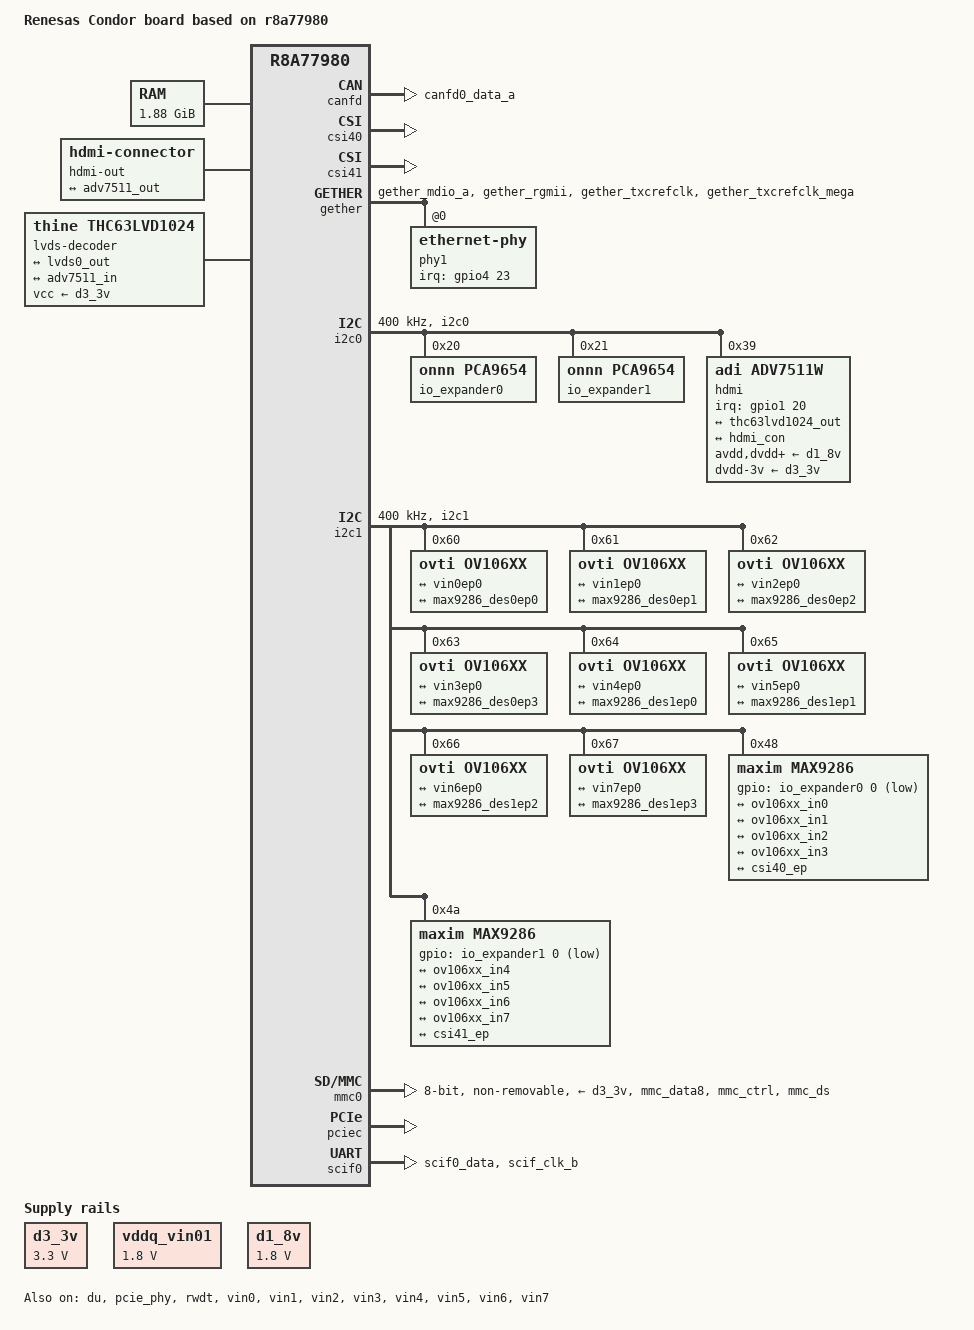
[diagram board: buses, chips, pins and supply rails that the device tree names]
// SPDX-License-Identifier: GPL-2.0
/*
 * Device Tree Source for the Condor board
 *
 * Copyright (C) 2018 Renesas Electronics Corp.
 * Copyright (C) 2018 Cogent Embedded, Inc.
 */

/dts-v1/;
#include "r8a77980.dtsi"
#include <dt-bindings/gpio/gpio.h>

/ {
	model = "Renesas Condor board based on r8a77980";
	compatible = "renesas,condor", "renesas,r8a77980";

	aliases {
		serial0 = &scif0;
		ethernet0 = &avb;
		ethernet1 = &gether;
	};

	chosen {
		stdout-path = "serial0:115200n8";
	};

	memory@48000000 {
		device_type = "memory";
		/* first 128MB is reserved for secure area. */
		reg = <0 0x48000000 0 0x78000000>;
	};

	reserved-memory {
		#address-cells = <2>;
		#size-cells = <2>;
		ranges;

		/* device specific region for Lossy Decompression */
		lossy_decompress: linux,lossy_decompress {
			no-map;
			reg = <0x00000000 0x6c000000 0x0 0x03000000>;
		};

		/* global autoconfigured region for contiguous allocations */
		linux,cma {
			compatible = "shared-dma-pool";
			reusable;
			reg = <0x00000000 0x6f000000 0x0 0x10000000>;
			linux,cma-default;
		};

		/* device specific region for contiguous allocations */
		linux,multimedia {
			compatible = "shared-dma-pool";
			reusable;
			reg = <0x00000000 0x7f000000 0x0 0x01000000>;
		};
	};

	mmngr {
		compatible = "renesas,mmngr";
		memory-region = <&lossy_decompress>;
	};

	mmngrbuf {
		compatible = "renesas,mmngrbuf";
	};

	d3_3v: regulator-0 {
		compatible = "regulator-fixed";
		regulator-name = "D3.3V";
		regulator-min-microvolt = <3300000>;
		regulator-max-microvolt = <3300000>;
		regulator-boot-on;
		regulator-always-on;
	};

	vddq_vin01: regulator-1 {
		compatible = "regulator-fixed";
		regulator-name = "VDDQ_VIN01";
		regulator-min-microvolt = <1800000>;
		regulator-max-microvolt = <1800000>;
		regulator-boot-on;
		regulator-always-on;
	};

	d1_8v: regulator-2 {
		compatible = "regulator-fixed";
		regulator-name = "D1.8V";
		regulator-min-microvolt = <1800000>;
		regulator-max-microvolt = <1800000>;
		regulator-boot-on;
		regulator-always-on;
	};

	hdmi-out {
		compatible = "hdmi-connector";
		type = "a";

		port {
			hdmi_con: endpoint {
				remote-endpoint = <&adv7511_out>;
			};
		};
	};

	lvds-decoder {
		compatible = "thine,thc63lvd1024";
		vcc-supply = <&d3_3v>;

		ports {
			#address-cells = <1>;
			#size-cells = <0>;

			port@0 {
				reg = <0>;
				thc63lvd1024_in: endpoint {
					remote-endpoint = <&lvds0_out>;
				};
			};

			port@2 {
				reg = <2>;
				thc63lvd1024_out: endpoint {
					remote-endpoint = <&adv7511_in>;
				};
			};
		};
	};

	x1_clk: x1-clock {
		compatible = "fixed-clock";
		#clock-cells = <0>;
		clock-frequency = <148500000>;
	};
};

&avb {
	pinctrl-0 = <&avb_pins>;
	pinctrl-names = "default";

	phy-mode = "rgmii-id";
	phy-handle = <&phy0>;
	renesas,no-ether-link;
	status = "disabled";

	phy0: ethernet-phy@0 {
		rxc-skew-ps = <1500>;
		reg = <0>;
		interrupt-parent = <&gpio1>;
		interrupts = <17 IRQ_TYPE_LEVEL_LOW>;
	};
};

&canfd {
	pinctrl-0 = <&canfd0_pins>;
	pinctrl-names = "default";
	status = "okay";

	channel0 {
		status = "okay";
	};
};

&csi40 {
	status = "okay";

	virtual,channel {
		csi2_vc0 {
			data,type = "ycbcr422";
			receive,vc = <0>;
		};
		csi2_vc1 {
			data,type = "ycbcr422";
			receive,vc = <1>;
		};
		csi2_vc2 {
			data,type = "ycbcr422";
			receive,vc = <2>;
		};
		csi2_vc3 {
			data,type = "ycbcr422";
			receive,vc = <3>;
		};
	};

	port {
		#address-cells = <1>;
		#size-cells = <0>;

		csi40_ep: endpoint {
			clock-lanes = <0>;
			data-lanes = <1 2 3 4>;
			csi-rate = <300>;
		};
	};
};

&csi41 {
	status = "okay";

	virtual,channel {
		csi2_vc0 {
			data,type = "ycbcr422";
			receive,vc = <0>;
		};
		csi2_vc1 {
			data,type = "ycbcr422";
			receive,vc = <1>;
		};
		csi2_vc2 {
			data,type = "ycbcr422";
			receive,vc = <2>;
		};
		csi2_vc3 {
			data,type = "ycbcr422";
			receive,vc = <3>;
		};
	};

	port {
		#address-cells = <1>;
		#size-cells = <0>;

		csi41_ep: endpoint {
			clock-lanes = <0>;
			data-lanes = <1 2 3 4>;
			csi-rate = <300>;
		};
	};
};
&du {
	clocks = <&cpg CPG_MOD 724>,
		 <&cpg CPG_MOD 727>,
		 <&x1_clk>;
	clock-names = "du.0", "lvds.0", "dclkin.0";
	status = "okay";

	ports {
		port@1 {
			lvds0_out: endpoint {
				remote-endpoint = <&thc63lvd1024_in>;
			};
		};
	};
};

&extal_clk {
	clock-frequency = <16666666>;
};

&extalr_clk {
	clock-frequency = <32768>;
};

&gether {
	pinctrl-0 = <&gether_pins>;
	pinctrl-names = "default";

	phy-mode = "rgmii-id";
	phy-handle = <&phy1>;
	renesas,no-ether-link;
	status = "okay";

	phy1: ethernet-phy@1 {
		rxc-skew-ps = <1500>;
		reg = <0>;
		interrupt-parent = <&gpio4>;
		interrupts = <23 IRQ_TYPE_LEVEL_LOW>;
	};
};

&i2c0 {
	pinctrl-0 = <&i2c0_pins>;
	pinctrl-names = "default";

	status = "okay";
	clock-frequency = <400000>;

	io_expander0: gpio@20 {
		compatible = "onnn,pca9654";
		reg = <0x20>;
		gpio-controller;
		#gpio-cells = <2>;
	};

	io_expander1: gpio@21 {
		compatible = "onnn,pca9654";
		reg = <0x21>;
		gpio-controller;
		#gpio-cells = <2>;
	};

	hdmi@39 {
		compatible = "adi,adv7511w";
		reg = <0x39>;
		interrupt-parent = <&gpio1>;
		interrupts = <20 IRQ_TYPE_LEVEL_LOW>;
		avdd-supply = <&d1_8v>;
		dvdd-supply = <&d1_8v>;
		pvdd-supply = <&d1_8v>;
		bgvdd-supply = <&d1_8v>;
		dvdd-3v-supply = <&d3_3v>;

		adi,input-depth = <8>;
		adi,input-colorspace = "rgb";
		adi,input-clock = "1x";
		adi,input-style = <1>;
		adi,input-justification = "evenly";

		ports {
			#address-cells = <1>;
			#size-cells = <0>;

			port@0 {
				reg = <0>;
				adv7511_in: endpoint {
					remote-endpoint = <&thc63lvd1024_out>;
				};
			};

			port@1 {
				reg = <1>;
				adv7511_out: endpoint {
					remote-endpoint = <&hdmi_con>;
				};
			};
		};
	};
};

&i2c1 {
	pinctrl-0 = <&i2c1_pins>;
	pinctrl-names = "default";

	status = "okay";
	clock-frequency = <400000>;

	ov106xx@0 {
		compatible = "ovti,ov106xx";
		reg = <0x60>;

		port@0 {
			ov106xx_in0: endpoint {
				clock-lanes = <0>;
				data-lanes = <1 2 3 4>;
				remote-endpoint = <&vin0ep0>;
			};
		};
		port@1 {
			ov106xx_max9286_des0ep0: endpoint@0 {
				remote-endpoint = <&max9286_des0ep0>;
			};
		};
	};

	ov106xx@1 {
		compatible = "ovti,ov106xx";
		reg = <0x61>;

		port@0 {
			ov106xx_in1: endpoint {
				clock-lanes = <0>;
				data-lanes = <1 2 3 4>;
				remote-endpoint = <&vin1ep0>;
			};
		};
		port@1 {
			ov106xx_max9286_des0ep1: endpoint@0 {
				remote-endpoint = <&max9286_des0ep1>;
			};
		};
	};

	ov106xx@2 {
		compatible = "ovti,ov106xx";
		reg = <0x62>;

		port@0 {
			ov106xx_in2: endpoint {
				clock-lanes = <0>;
				data-lanes = <1 2 3 4>;
				remote-endpoint = <&vin2ep0>;
			};
		};
		port@1 {
			ov106xx_max9286_des0ep2: endpoint@0 {
				remote-endpoint = <&max9286_des0ep2>;
			};
		};
	};

	ov106xx@3 {
		compatible = "ovti,ov106xx";
		reg = <0x63>;

		port@0 {
			ov106xx_in3: endpoint {
				clock-lanes = <0>;
				data-lanes = <1 2 3 4>;
				remote-endpoint = <&vin3ep0>;
			};
		};
		port@1 {
			ov106xx_des0ep3: endpoint {
				remote-endpoint = <&max9286_des0ep3>;
			};
		};
	};

	ov106xx@4 {
		compatible = "ovti,ov106xx";
		reg = <0x64>;

		port@0 {
			ov106xx_in4: endpoint {
				clock-lanes = <0>;
				data-lanes = <1 2 3 4>;
				remote-endpoint = <&vin4ep0>;
			};
		};
		port@1 {
			ov106xx_max9286_des1ep0: endpoint@0 {
				remote-endpoint = <&max9286_des1ep0>;
			};
		};
	};

	ov106xx@5 {
		compatible = "ovti,ov106xx";
		reg = <0x65>;

		port@0 {
			ov106xx_in5: endpoint {
				clock-lanes = <0>;
				data-lanes = <1 2 3 4>;
				remote-endpoint = <&vin5ep0>;
			};
		};
		port@1 {
			ov106xx_max9286_des1ep1: endpoint@0 {
				remote-endpoint = <&max9286_des1ep1>;
			};
		};
	};

	ov106xx@6 {
		compatible = "ovti,ov106xx";
		reg = <0x66>;

		port@0 {
			ov106xx_in6: endpoint {
				clock-lanes = <0>;
				data-lanes = <1 2 3 4>;
				remote-endpoint = <&vin6ep0>;
			};
		};
		port@1 {
			ov106xx_max9286_des1ep2: endpoint@0 {
				remote-endpoint = <&max9286_des1ep2>;
			};
		};
	};

	ov106xx@7 {
		compatible = "ovti,ov106xx";
		reg = <0x67>;

		port@0 {
			ov106xx_in7: endpoint {
				clock-lanes = <0>;
				data-lanes = <1 2 3 4>;
				remote-endpoint = <&vin7ep0>;
			};
		};
		port@1 {
			ov106xx_des1ep3: endpoint {
				remote-endpoint = <&max9286_des1ep3>;
			};
		};
	};

	max9286@0 {
		compatible = "maxim,max9286";
		reg = <0x48>;
		gpios = <&io_expander0 0 GPIO_ACTIVE_LOW>; /* MAX9286 PWDN */
		maxim,gpio0 = <0>;
		maxim,sensor_delay = <100>;
		maxim,links = <4>;
		maxim,lanes = <4>;
		maxim,resetb-gpio = <1>;
		maxim,fsync-mode = "automatic";
		maxim,timeout = <100>;

		port@0 {
			max9286_des0ep0: endpoint@0 {
				max9271-addr = <0x50>;
				dvp-order = <1>;
				remote-endpoint = <&ov106xx_in0>;
			};
			max9286_des0ep1: endpoint@1 {
				max9271-addr = <0x51>;
				dvp-order = <1>;
				remote-endpoint = <&ov106xx_in1>;
			};
			max9286_des0ep2: endpoint@2 {
				max9271-addr = <0x52>;
				dvp-order = <1>;
				remote-endpoint = <&ov106xx_in2>;
			};
			max9286_des0ep3: endpoint@3 {
				max9271-addr = <0x53>;
				dvp-order = <1>;
				remote-endpoint = <&ov106xx_in3>;
			};
		};
		port@1 {
			max9286_csi0ep0: endpoint {
				csi-rate = <700>;
				remote-endpoint = <&csi40_ep>;
			};
		};
	};

	max9286@1 {
		compatible = "maxim,max9286";
		reg = <0x4a>;
		gpios = <&io_expander1 0 GPIO_ACTIVE_LOW>; /* MAX9286 PWDN */
		maxim,gpio0 = <0>;
		maxim,sensor_delay = <100>;
		maxim,links = <4>;
		maxim,lanes = <4>;
		maxim,resetb-gpio = <1>;
		maxim,fsync-mode = "automatic";
		maxim,timeout = <100>;

		port@0 {
			max9286_des1ep0: endpoint@0 {
				max9271-addr = <0x54>;
				dvp-order = <1>;
				remote-endpoint = <&ov106xx_in4>;
			};
			max9286_des1ep1: endpoint@1 {
				max9271-addr = <0x55>;
				dvp-order = <1>;
				remote-endpoint = <&ov106xx_in5>;
			};
			max9286_des1ep2: endpoint@2 {
				max9271-addr = <0x56>;
				dvp-order = <1>;
				remote-endpoint = <&ov106xx_in6>;
			};
			max9286_des1ep3: endpoint@3 {
				max9271-addr = <0x57>;
				dvp-order = <1>;
				remote-endpoint = <&ov106xx_in7>;
			};
		};
		port@1 {
			max9286_csi1ep0: endpoint {
				csi-rate = <700>;
				remote-endpoint = <&csi41_ep>;
			};
		};
	};
};

&mmc0 {
	pinctrl-0 = <&mmc_pins>;
	pinctrl-1 = <&mmc_pins_uhs>;
	pinctrl-names = "default", "state_uhs";

	vmmc-supply = <&d3_3v>;
	vqmmc-supply = <&vddq_vin01>;
	mmc-hs200-1_8v;
	bus-width = <8>;
	non-removable;
	status = "okay";
};

&pciec {
	status = "okay";
};

&pcie_bus_clk {
	clock-frequency = <100000000>;
};

&pcie_phy {
	status = "okay";
};

&pfc {
	avb_pins: avb {
		groups = "avb_mdio", "avb_rgmii";
		function = "avb";
	};

	canfd0_pins: canfd0 {
		groups = "canfd0_data_a";
		function = "canfd0";
	};

	gether_pins: gether {
		groups = "gether_mdio_a", "gether_rgmii",
			 "gether_txcrefclk", "gether_txcrefclk_mega";
		function = "gether";
	};

	i2c0_pins: i2c0 {
		groups = "i2c0";
		function = "i2c0";
	};

	i2c1_pins: i2c1 {
		groups = "i2c1";
		function = "i2c1";
	};

	mmc_pins: mmc {
		groups = "mmc_data8", "mmc_ctrl", "mmc_ds";
		function = "mmc";
		power-source = <3300>;
	};

	mmc_pins_uhs: mmc_uhs {
		groups = "mmc_data8", "mmc_ctrl", "mmc_ds";
		function = "mmc";
		power-source = <1800>;
	};

	scif0_pins: scif0 {
		groups = "scif0_data";
		function = "scif0";
	};

	scif_clk_pins: scif_clk {
		groups = "scif_clk_b";
		function = "scif_clk";
	};
};

&rwdt {
	timeout-sec = <60>;
	status = "okay";
};

&scif0 {
	pinctrl-0 = <&scif0_pins>, <&scif_clk_pins>;
	pinctrl-names = "default";

	status = "okay";
};

&scif_clk {
	clock-frequency = <14745600>;
};

&vin0 {
	status = "okay";

	ports {
		#address-cells = <1>;
		#size-cells = <0>;

		port@0 {
			vin0ep0: endpoint {
				csi,select = "csi40";
				virtual,channel = <0>;
				data-lanes = <1 2 3 4>;
				remote-endpoint = <&ov106xx_in0>;
			};
		};
		port@1 {
			csi0ep0: endpoint {
				remote-endpoint = <&csi40_ep>;
			};
		};
		port@2 {
			vin0_max9286_des0ep0: endpoint@0 {
				remote-endpoint = <&max9286_des0ep0>;
			};
		};
	};
};

&vin1 {
	status = "okay";

	ports {
		#address-cells = <1>;
		#size-cells = <0>;

		port@0 {
			vin1ep0: endpoint {
				csi,select = "csi40";
				virtual,channel = <1>;
				data-lanes = <1 2 3 4>;
				remote-endpoint = <&ov106xx_in1>;
			};
		};
		port@1 {
			csi0ep1: endpoint {
				remote-endpoint = <&csi40_ep>;
			};
		};
		port@2 {
			vin1_max9286_des0ep1: endpoint@0 {
				remote-endpoint = <&max9286_des0ep1>;
			};
		};
	};
};

&vin2 {
	status = "okay";

	ports {
		#address-cells = <1>;
		#size-cells = <0>;

		port@0 {
			vin2ep0: endpoint {
				csi,select = "csi40";
				virtual,channel = <2>;
				data-lanes = <1 2 3 4>;
				remote-endpoint = <&ov106xx_in2>;
			};
		};
		port@1 {
			csi0ep2: endpoint {
				remote-endpoint = <&csi40_ep>;
			};
		};
		port@2 {
			vin2_max9286_des0ep2: endpoint@0 {
				remote-endpoint = <&max9286_des0ep2>;
			};
		};
	};
};

&vin3 {
	status = "okay";

	ports {
		#address-cells = <1>;
		#size-cells = <0>;

		port@0 {
			vin3ep0: endpoint {
				csi,select = "csi40";
				virtual,channel = <3>;
				data-lanes = <1 2 3 4>;
				remote-endpoint = <&ov106xx_in3>;
			};
		};
		port@1 {
			csi0ep3: endpoint {
				remote-endpoint = <&csi40_ep>;
			};
		};
		port@2 {
			vin3_max9286_des0ep3: endpoint@0 {
				remote-endpoint = <&max9286_des0ep3>;
			};
		};
	};
};

&vin4 {
	status = "okay";

	ports {
		#address-cells = <1>;
		#size-cells = <0>;

		port@0 {
			vin4ep0: endpoint {
				csi,select = "csi41";
				virtual,channel = <0>;
				data-lanes = <1 2 3 4>;
				remote-endpoint = <&ov106xx_in4>;
			};
		};
		port@1 {
			csi1ep0: endpoint {
				remote-endpoint = <&csi41_ep>;
			};
		};
		port@2 {
			vin4_max9286_des1ep0: endpoint@0 {
				remote-endpoint = <&max9286_des1ep0>;
			};
		};
	};
};

&vin5 {
	status = "okay";

	ports {
		#address-cells = <1>;
		#size-cells = <0>;

		port@0 {
			vin5ep0: endpoint {
				csi,select = "csi41";
				virtual,channel = <1>;
				data-lanes = <1 2 3 4>;
				remote-endpoint = <&ov106xx_in5>;
			};
		};
		port@1 {
			csi1ep1: endpoint {
				remote-endpoint = <&csi41_ep>;
			};
		};
		port@2 {
			vin5_max9286_des1ep1: endpoint@0 {
				remote-endpoint = <&max9286_des1ep1>;
			};
		};
	};
};

&vin6 {
	status = "okay";

	ports {
		#address-cells = <1>;
		#size-cells = <0>;

		port@0 {
			vin6ep0: endpoint {
				csi,select = "csi41";
				virtual,channel = <2>;
				data-lanes = <1 2 3 4>;
				remote-endpoint = <&ov106xx_in6>;
			};
		};
		port@1 {
			csi1ep2: endpoint {
				remote-endpoint = <&csi41_ep>;
			};
		};
		port@2 {
			vin6_max9286_des1ep2: endpoint@0 {
				remote-endpoint = <&max9286_des1ep2>;
			};
		};
	};
};

&vin7 {
	status = "okay";

	ports {
		#address-cells = <1>;
		#size-cells = <0>;

		port@0 {
			vin7ep0: endpoint {
				csi,select = "csi41";
				virtual,channel = <3>;
				data-lanes = <1 2 3 4>;
				remote-endpoint = <&ov106xx_in7>;
			};
		};
		port@1 {
			csi1ep3: endpoint {
				remote-endpoint = <&csi41_ep>;
			};
		};
		port@2 {
			vin7_max9286_des1ep3: endpoint@0 {
				remote-endpoint = <&max9286_des1ep3>;
			};
		};
	};
};
